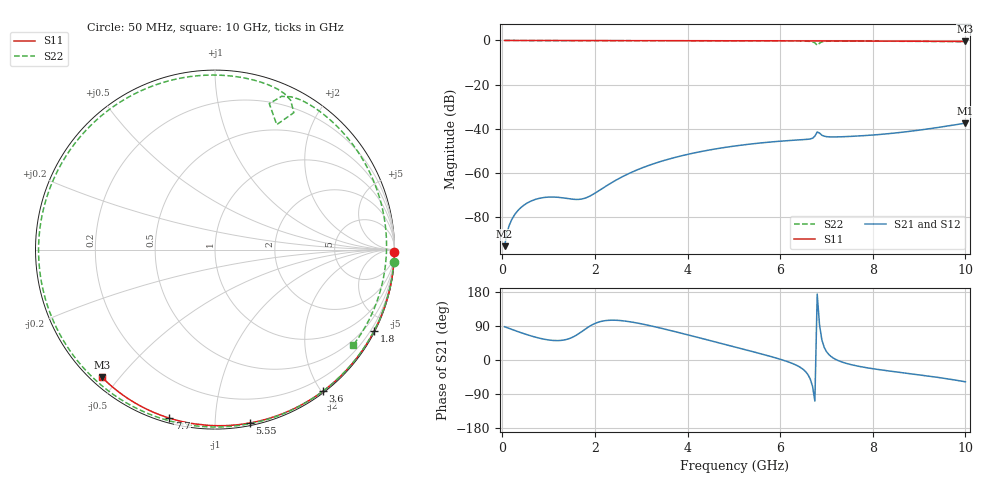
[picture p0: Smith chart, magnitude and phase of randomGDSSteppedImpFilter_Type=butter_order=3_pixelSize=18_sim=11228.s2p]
! freq	dB(S11)	phase(S11)	dB(S12)	phase(S12)
!  dB(S21)	phase(S21)	dB(S22)	phase(S22)
!S-par simulation data
#  GHz  S  DB  R 50
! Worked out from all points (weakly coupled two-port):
!   200 points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, 50 MHz to 10 GHz, reference 50 ohm
!   highest |S21| = -37.52 dB at 10 GHz (marker M1); lowest = -93.3 dB at 50 MHz (marker M2)
!   lowest |S11| = -0.4 dB at 10 GHz (marker M3), VSWR 38.97, Z = 1.54 - j22.5 ohm
!   |S11| at or under -10 dB: nowhere
!   |S22| runs from -2.2 to 0.0 dB; largest |S21 - S12| = 0
!   S11 on the Smith chart (normalised r, x): 50 MHz: open; 1.8 GHz: 0.04, -4.17; 3.6 GHz: 0.02, -2.02; 5.55 GHz: 0.02, -1.22; 7.7 GHz: 0.02, -0.77; 10 GHz: 0.03, -0.45
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0.05  -0.00 -0.8  -93.34 87.7  -93.34 87.7  -0.00 -3.9
0.25  -0.01 -3.8  -79.58 78.7  -79.58 78.7  -0.03 -19.2
0.45  -0.01 -6.8  -74.99 70.2  -74.99 70.2  -0.05 -34.1
0.9  -0.02 -13.6  -71.25 54.9  -71.25 54.9  -0.08 -65.7
1.3  -0.02 -19.6  -71.40 52.2  -71.40 52.2  -0.10 -90.7
1.75  -0.03 -26.2  -71.77 77.9  -71.77 77.9  -0.12 -115.3
1.8  -0.03 -27.0  -71.45 82.2  -71.45 82.2  -0.12 -117.8
2.55  -0.05 -37.9  -62.29 104.1  -62.29 104.1  -0.13 -151.7
3.4  -0.07 -49.9  -55.04 84.7  -55.04 84.7  -0.15 176.0
3.6  -0.07 -52.7  -53.81 78.8  -53.81 78.8  -0.16 169.0
4.3  -0.09 -62.3  -50.37 57.2  -50.37 57.2  -0.18 145.3
5.05  -0.11 -72.3  -47.80 33.5  -47.80 33.5  -0.20 120.8
5.55  -0.13 -78.8  -46.56 17.5  -46.56 17.5  -0.22 104.6
6.25  -0.16 -87.6  -45.33 -8.4  -45.33 -8.4  -0.26 81.4
6.7  -0.18 -93.2  -44.36 -69.7  -44.36 -69.7  -0.60 63.2
6.8  -0.19 -94.4  -41.54 173.9  -41.54 173.9  -2.20 63.7
6.85  -0.19 -94.9  -42.00 93.2  -42.00 93.2  -1.23 69.6
7.1  -0.20 -98.0  -43.77 9.2  -43.77 9.2  -0.31 56.9
7.7  -0.24 -105.1  -43.32 -16.7  -43.32 -16.7  -0.31 36.2
8.35  -0.29 -112.7  -42.27 -28.9  -42.27 -28.9  -0.35 15.2
9.15  -0.36 -121.9  -40.27 -41.5  -40.27 -41.5  -0.43 -9.6
10  -0.45 -131.5  -37.52 -57.5  -37.52 -57.5  -0.58 -34.6
